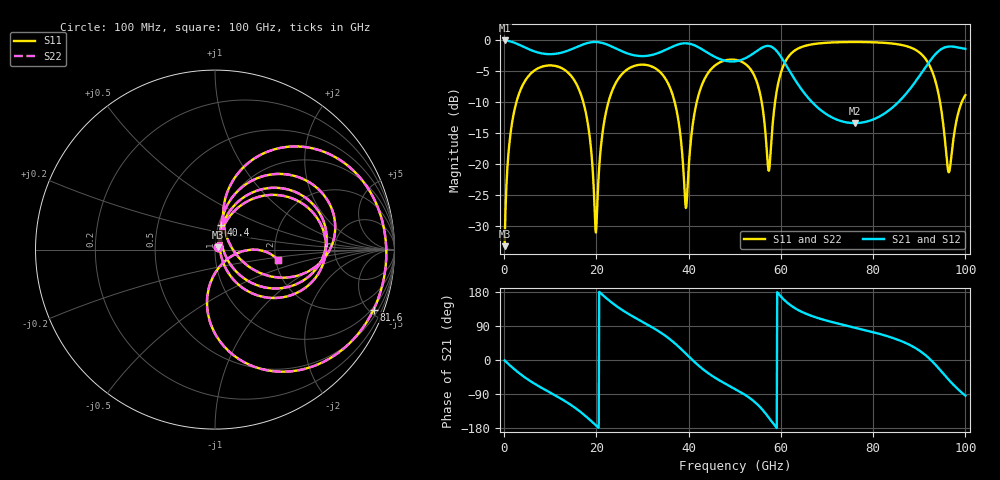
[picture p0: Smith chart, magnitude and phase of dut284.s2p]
! Touchstone file exported from HFSS 2026.1.0
!  File:  C:/ffzhzh/LocalFiles/Ansys_Project_Files/temp_train_TSV_RDL_284_1783679496_29156.aedt
!  Generated:  06:43:23 PM Jul 10, 2026
!  Design:  TSV_RDL
!  Project:  temp_train_TSV_RDL_284_1783679496_29156
! Variables:
!  h_bsmrdl = 4.75um
!  h_ox = 20um
!  h_rdl = 5um
!  h_sub = 80.8um
!  h_tmrdl = 4.5um
!  h_tsv = 80.8um
!  h_via = 3um
!  l_bsmrdl = 102.48um
!  l_sub = 2799.61um
!  l_tmrdl = 497.22um
!  m_sub = 200um
!  pitch = 49.87um
!  r_tsv = 6.56um
!  s_tmrdl = 10um
!  w_bsmrdl = 23.39um
!  w_sub = 500um
!  w_tmrdl = 11.04um
!  x_tsv_center1 = 502.74um
!  x_tsv_center2 = 628.61um
!  x_tsv_center3 = 1136.87um
!  x_tsv_center4 = 1262.74um
!  x_tsv_center5 = 1771um
!  x_tsv_center6 = 1896.87um
# GHz S MA R 50.000000
! Terminal data exported
! Port[1] = TM_RDL1_1_T1
! Port[2] = TM_RDL5_1_T1
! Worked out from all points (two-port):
!   1000 points, 100 MHz to 100 GHz, reference 50 ohm
!   highest |S21| = -0.15 dB at 100 MHz (marker M1); lowest = -13.5 dB at 76 GHz (marker M2)
!   |S21| within 3 dB of the highest: start of sweep to 46.75 GHz; 51.88 GHz to 60.33 GHz (8.452 GHz wide, 15.1 % of centre) (the widest 2 of 3)
!   lowest |S11| = -33.3 dB at 100 MHz (marker M3), VSWR 1.04, Z = 51.7 + j1.34 ohm
!   |S11| at or under -10 dB: 17.13 GHz to 22.64 GHz (5.514 GHz wide, 27.7 % of centre); 36.95 GHz to 41.78 GHz (4.837 GHz wide, 12.3 % of centre); 94.49 GHz to 99.27 GHz (4.779 GHz wide, 4.93 % of centre) (the widest 3 of 5)
!   |S22| runs from -33.3 to -0.4 dB; largest |S21 - S12| = 3.5e-14
!   S11 on the Smith chart (normalised r, x): 100 MHz: 1.03, +0.03; 40.4 GHz: 1.03, +0.29; 81.6 GHz: 0.86, -5.34; 100 GHz: 2.06, -0.28
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0.1  0.02164 36.8  0.9829 -1.2  0.9829 -1.2  0.02164 36.8
! Gamma 0 0 0 0
! Port Impedance 50 0 50 0
1.6  0.2004 66.4  0.9597 -17.9  0.9597 -17.9  0.2004 66.4
4.5  0.4621 41.1  0.8632 -46.0  0.8632 -46.0  0.4621 41.1
10.7  0.6162 -2.2  0.7642 -90.9  0.7642 -90.9  0.6162 -2.2
16.8  0.3468 -47.2  0.9039 -139.4  0.9039 -139.4  0.3468 -47.3
19.9  0.02791 10.2  0.956 -172.4  0.956 -172.4  0.02756 10.2
23.8  0.417 53.1  0.8613 147.2  0.8613 147.2  0.4169 53.1
33.4  0.5645 -12.5  0.7787 76.6  0.7787 76.6  0.5646 -12.5
37.2  0.2891 -41.4  0.8985 42.0  0.8985 42.0  0.2891 -41.5
39.3  0.04689 -4.0  0.9329 18.0  0.9329 18.0  0.04653 -4.3
40.4  0.1434 76.4  0.9215 5.0  0.9215 5.0  0.1432 76.6
50.1  0.6862 13.2  0.6678 -76.7  0.6678 -76.7  0.6862 13.2
54.8  0.454 -19.6  0.8091 -116.0  0.8091 -116.0  0.4541 -19.6
57.4  0.08764 28.6  0.8876 -152.3  0.8876 -152.3  0.08807 28.6
60.4  0.5965 63.5  0.6895 162.4  0.6895 162.4  0.5964 63.5
66.7  0.9141 23.1  0.3147 116.2  0.3147 116.2  0.914 23.1
76  0.9553 -4.9  0.2122 85.5  0.2122 85.5  0.9552 -4.9
81.6  0.9446 -20.7  0.2425 68.2  0.2425 68.2  0.9445 -20.7
83.4  0.9342 -26.7  0.2684 61.6  0.2684 61.6  0.9342 -26.7
94.1  0.3754 -95.4  0.8012 -20.4  0.8012 -20.4  0.3751 -95.6
96.4  0.0851 -48.9  0.8781 -52.4  0.8781 -52.4  0.08421 -49.0
100  0.3569 -9.7  0.8406 -94.2  0.8406 -94.2  0.3567 -9.6
